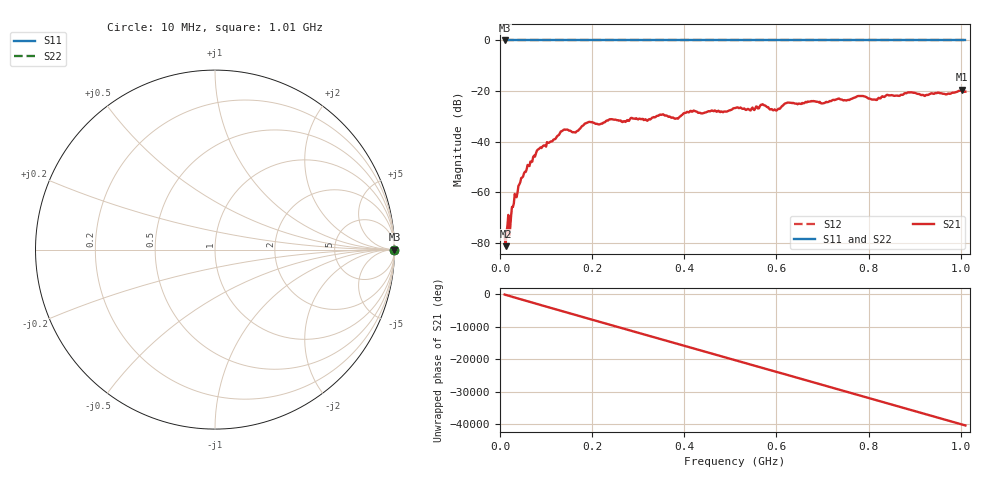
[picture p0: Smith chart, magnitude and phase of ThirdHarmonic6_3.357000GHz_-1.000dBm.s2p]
! 8/17/2025 10:36:49 AM
! C:\ANRITSUVNA\TEMP\TEMP.S2P
! CHANNEL.1
! TR.MEASUREMENT
! RAW.DATA
! RF.CORRECTION.OFF
! AVERAGING.OFF
! IF.BANDWIDTH: 5KHZ
! SWEEPTYPE:  FREQ.SWEEP(Linear)
! Reference Plane Port Info
! PORT:  PORT1  PORT2
! DISTANCE:  0  m  0  m
! TIME:  0  s  0  s
! PHASE.OFFSET:  0  deg.  0  deg.
! LOSS:  0  dB  0  dB
! REF.LOSS:  0  dB  0  dB
! REF.FREQ:  0  Hz  0  Hz
! Power Info
! POWER:  -20  dBm  -20  dBm
! EFF.POWER:  -20  dBm  -20  dBm
! SOURCE.ATTEN:  0  dB  0  dB
! TEST.ATTEN:  0  dB  0  dB
# GHZ S RI R 50.0
! FREQ.GHZ  S11RE  S11IM  S21RE  S21IM  S12RE  S12IM  S22RE  S22IM
!; PortSelection: Port_12
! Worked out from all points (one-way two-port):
!   501 points, 10 MHz to 1.01 GHz, reference 50 ohm
!   highest |S21| = -19.48 dB at 1.002 GHz (marker M1); lowest = -81.3 dB at 12 MHz (marker M2)
!   lowest |S11| = 0.0 dB at 10 MHz (marker M3)
!   |S11| at or under -10 dB: nowhere
!   |S22| runs from 0.0 to 0.0 dB; largest |S21 - S12| = 1.1
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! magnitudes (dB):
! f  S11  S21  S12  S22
! 10 MHz  0.0  -76.8  0.0  0.0
! 12 MHz  0.0  -81.3  0.0  0.0
! 24 MHz  0.0  -69.5  0.0  0.0
! 30 MHz  0.0  -64.4  0.0  0.0
! 44 MHz  0.0  -56.0  0.0  0.0
! 82 MHz  0.0  -43.1  0.0  0.0
! 136 MHz  0.0  -35.6  0.0  0.0
! 162 MHz  0.0  -36.3  0.0  0.0
! 178 MHz  0.0  -33.8  0.0  0.0
! 344 MHz  0.0  -29.7  0.0  0.0
! 382 MHz  0.0  -30.8  0.0  0.0
! 416 MHz  0.0  -28.1  0.0  0.0
! 510 MHz  0.0  -26.7  0.0  0.0
! 570 MHz  0.0  -25.2  0.0  0.0
! 596 MHz  0.0  -27.2  0.0  0.0
! 622 MHz  0.0  -24.7  0.0  0.0
! 678 MHz  0.0  -24.0  0.0  0.0
! 782 MHz  0.0  -21.9  0.0  0.0
! 814 MHz  0.0  -23.3  0.0  0.0
! 844 MHz  0.0  -21.7  0.0  0.0
! 1.002 GHz  0.0  -19.5  0.0  0.0
! 1.01 GHz  0.0  -20.2  0.0  0.0
